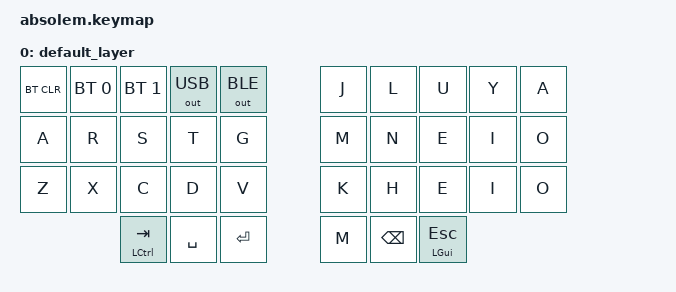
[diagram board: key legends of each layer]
/*
 * Copyright (c) 2020 The ZMK Contributors
 *
 * SPDX-License-Identifier: MIT
 */

#include <behaviors.dtsi>
#include <dt-bindings/zmk/keys.h>
#include <dt-bindings/zmk/bt.h>
#include <dt-bindings/zmk/ext_power.h>
#include <dt-bindings/zmk/outputs.h>


/ {
    keymap {
        compatible = "zmk,keymap";

        default_layer {

            bindings = <
                &bt BT_CLR &bt BT_SEL 0 &bt BT_SEL 1 &out OUT_USB &out OUT_BLE        			&kp J &kp L &kp U &kp Y &kp A
                &kp A    &kp R &kp S &kp T &kp G        			&kp M &kp N &kp E &kp I    &kp O
                &kp Z &kp X &kp C &kp D &kp V        			&kp K &kp H &kp E &kp I    &kp O
                &mt LCTL TAB &kp SPACE &kp RET      	&kp M &kp BKSP   &mt LGUI ESC
            >;
        };
    };
    };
